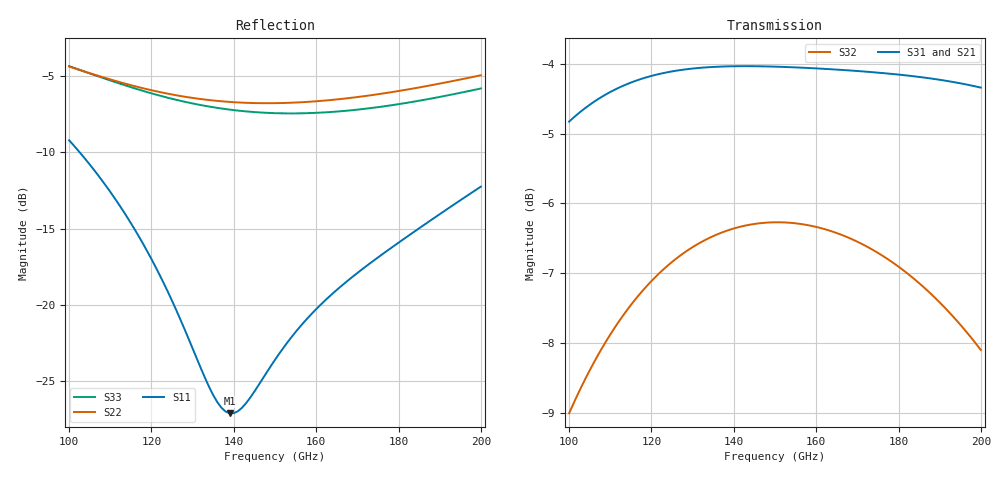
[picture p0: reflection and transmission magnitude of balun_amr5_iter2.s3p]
! Created with skrf 2.2.0 (http://scikit-rf.org).
# GHz S DB R 50.0
! Port[1] = P1
! Port[2] = P2
! Port[3] = P3
!freq dBS11 angS11 dBS12 angS12 dBS13 angS13
! dBS21 angS21 dBS22 angS22 dBS23 angS23
! dBS31 angS31 dBS32 angS32 dBS33 angS33
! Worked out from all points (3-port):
!   101 points, 100 GHz to 200 GHz, reference 50 ohm
!   strongest paths, dB at 100 GHz, 125 GHz, 150 GHz, 175 GHz, 200 GHz:
!     S31: -4.8, -4.1, -4.0, -4.1, -4.3
!     S21: -4.5, -4.0, -4.0, -4.3, -4.8
!     S32: -9.0, -6.8, -6.3, -6.7, -8.1
!   lowest |S11| = -27.1 dB at 139 GHz (marker M1), VSWR 1.09, Z = 45.9 + j1.03 ohm
!   |S11| at or under -10 dB: 102.5 GHz to end of sweep
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100  -9.22 129.5  -4.54 -13.6  -4.83 162.4
     -4.54 -13.6  -4.40 60.2  -9.01 89.8
     -4.83 162.4  -9.01 89.8  -4.37 49.8
110  -12.60 118.6  -4.17 -29.4  -4.40 145.6
     -4.17 -29.4  -5.24 51.0  -7.88 74.1
     -4.40 145.6  -7.88 74.1  -5.31 39.0
120  -17.00 113.7  -4.00 -44.1  -4.17 129.9
     -4.00 -44.1  -5.95 43.0  -7.11 59.3
     -4.17 129.9  -7.11 59.3  -6.15 29.5
135  -25.90 141.7  -3.95 -64.5  -4.04 108.3
     -3.95 -64.5  -6.62 32.2  -6.47 38.7
     -4.04 108.3  -6.47 38.7  -7.06 17.2
139  -27.08 165.3  -3.96 -69.6  -4.04 102.8
     -3.96 -69.6  -6.71 29.3  -6.38 33.4
     -4.04 102.8  -6.38 33.4  -7.21 14.1
143  -26.41 -172.2  -3.98 -74.6  -4.03 97.4
     -3.98 -74.6  -6.77 26.5  -6.31 28.3
     -4.03 97.4  -6.31 28.3  -7.33 11.0
150  -23.58 -150.4  -4.03 -83.3  -4.04 88.2
     -4.03 -83.3  -6.79 21.4  -6.27 19.5
     -4.04 88.2  -6.27 19.5  -7.45 5.7
160  -20.27 -139.9  -4.12 -95.3  -4.06 75.5
     -4.12 -95.3  -6.67 13.7  -6.34 7.3
     -4.06 75.5  -6.34 7.3  -7.43 -2.1
174  -17.09 -135.6  -4.27 -111.9  -4.12 57.9
     -4.27 -111.9  -6.25 2.0  -6.67 -9.4
     -4.12 57.9  -6.67 -9.4  -7.09 -13.5
200  -12.25 -139.4  -4.77 -143.4  -4.34 24.9
     -4.77 -143.4  -4.97 -22.5  -8.10 -40.1
     -4.34 24.9  -8.10 -40.1  -5.83 -36.9
